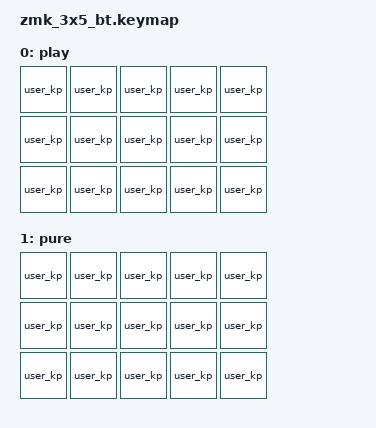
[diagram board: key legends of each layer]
/*
 * Copyright (c) 2026
 * SPDX-License-Identifier: MIT
 *
 * ZMK 3x5 Bluetooth Keyboard - User Keymap
 *
 * === Default layer (15 keys) ===
 *
 * Special keys (corners + sides):
 *   Y / P / H / ; / N / /  are in held-combos:
 *     Hold Y+P    → brightness loop (+1/100ms while held)
 *     Hold H+;    → hue loop       (+8deg/100ms while held)
 *     Hold Y+N    → cycle to next effect (0=OFF,1=静态,2=呼吸,3=彩虹,4=单点亮,5=星光,6=波纹)
 *     Hold P+N 3s → reboot into DFU bootloader
 *     Hold O+. 2s → clear every BLE bond
 *   While held, their normal letter is suppressed.
 *
 * Inner 9 keys (U I O J K L M , .):
 *   Send their letter — through ZMK's STOCK &kp (see the KPTEST note below).
 *   Historically they went through the hand-rolled &kp_we, which also fired a
 *   ripple. KPTEST retired that: the ripple is now driven straight off the
 *   kscan event, and the typing path is stock ZMK, so per-key feedback survives
 *   even if the keymap is wrong. &kp_we is still DEFINED further down but is
 *   no longer referenced by ANY binding.
 *
 * === Combos ===
 *   bri_combo   (Y+P)     → bri_dual   (suppresses both, no letter sent)
 *   hue_combo   (H+;)     → hue_dual   (suppresses both, no letter sent)
 *   eff_next_combo (Y+N)  → effect_cycle (suppresses both)
 *   dfu_combo   (P+N)     → dfu_combo  (3s hold → DFU)
 *   out_combo   (I+K)     → &out OUT_TOG (flip the output endpoint USB↔BLE;
 *                            needed while plugged in for power, see the block
 *                            comment where the combo is defined)
 *   bt_clr_combo (O+.)     → bt_clear   (held 2 s: wipe every BLE bond)
 *       PAIRFIX: the bound behavior used to call only bt_unpair(), which left
 *       ZMK's profiles[] still holding the old address, so ZMK refused every
 *       pairing request with BT_SECURITY_ERR_PAIR_NOT_ALLOWED. It now calls
 *       zmk_ble_clear_all_bonds() - the same thing ZMK's stock &bt BT_CLR_ALL
 *       does. See behavior_bt_clear_bonds.c and PAIRFIX-verify.md.
 *
 *   ALL combos now carry require-prior-idle-ms = <200> and timeout-ms = <80>.
 *   The pairing matters more than it looks: a combo CAPTURES the position
 *   events of its keys, so timeout-ms is also the delay imposed on a key
 *   pressed ALONE - and 12 of the 15 keys are combo members. Read the long
 *   block comment inside `combos {}` before editing any of it.
 *
 * === Pure play mode (纯净弹琴) ===
 *   HOLD Y + N + P + /          (positions 0 4 10 14, the four corners)
 *     -> enter: K (position 7) blinks BLUE twice
 *     -> leave: K blinks RED twice
 *
 *   While it is engaged the keymap sits on `pure_layer` below, whose fifteen
 *   bindings are the same notes. Every combo in this file carries
 *   `layers = <0>`, and ZMK only considers a combo a candidate when the
 *   HIGHEST ACTIVE layer is in that set - so on layer 1 no combo exists at
 *   all: Y+P, H+;, Y+N, P+N, O+. and I+K stop doing anything, and - the point
 *   of the whole exercise - they stop CAPTURING their member keys, so those
 *   notes type again (no 80 ms combo timeout, chords included).
 *
 *   The gesture is NOT a combo. Four corners cannot land inside an 80 ms combo
 *   window, and a four-key combo containing Y/N/P would leave every one of
 *   those keys with several candidates, which is exactly what made the old
 *   four-corner combo poison the brightness/effect/DFU chords (see the block
 *   comment inside `combos {}`). pure_mode.c detects it from position events
 *   instead, which reach module listeners before the combo engine.
 *
 *   Additions here are only the layer and the `layers` filters. Do NOT give
 *   the combos `layers = <0 1>` - that would put them straight back into pure
 *   mode.
 *
 * === Effect list (cycle order) ===
 *   0 OFF / 1 静态单色 / 2 单色呼吸 / 3 彩虹循环 / 4 单点亮 / 5 星光闪烁 / 6 波纹
 *
 * === Binding cells ===
 *   The default layer uses stock `&kp <symbol>` — exactly ONE cell, no second
 *   cell. The RETIRED `&kp_we <usage-id> <led idx 0-14>` had a second cell: a
 *   **0-based** LED/ripple index, i.e. exactly the keymap position (0..14).
 *   It is NOT the 1-based keyIndex used by the JSON scores. (Scores store
 *   keyIndex 1..15; player.c and mode_c.c subtract 1 before calling
 *   effects_on_key_down(), so the keymap had to pass 0..14.)
 *
 *   pos  0   1   2   3   4   5   6   7   8   9   10  11  12  13  14
 *   key  Y   U   I   O   P   H   J   K   L   ;   N   M   ,   .   /
 *   keyIndex (JSON, 1-based)  1..15  = pos + 1
 *
 * === HID usage IDs — READ THIS BEFORE TOUCHING THE BINDINGS ===
 *   Rule: use dt-bindings/zmk/keys.h SYMBOLS (&kp Y, &kp SEMI, ...) and never
 *   write a raw number. The symbol IS the usage ID, so there is nothing to get
 *   wrong — that is precisely why the symbols are mandatory here.
 *
 *   Authoritative table, Keyboard/Keypad page 0x07, raw *usage IDs* — which is
 *   exactly what zmk_hid_keyboard_press(zmk_key_t) takes:
 *
 *     A 0x04  B 0x05  C 0x06  D 0x07  E 0x08  F 0x09  G 0x0A  H 0x0B
 *     I 0x0C  J 0x0D  K 0x0E  L 0x0F  M 0x10  N 0x11  O 0x12  P 0x13
 *     Q 0x14  R 0x15  S 0x16  T 0x17  U 0x18  V 0x19  W 0x1A  X 0x1B
 *     Y 0x1C  Z 0x1D
 *     ; 0x33   ' 0x34   ` 0x35   , 0x36   . 0x37   / 0x38
 *
 *   This board's 15 keys. Verified against the devicetree dump of a REAL build
 *   (the `bindings = <` line shows the macro expansion, e.g. `&kp I 0x7000c`):
 *
 *     Y 0x1C   U 0x18   I 0x0C   O 0x12   P 0x13
 *     H 0x0B   J 0x0D   K 0x0E   L 0x0F   ; 0x33
 *     N 0x11   M 0x10   , 0x36   . 0x37   / 0x38
 *
 *   HISTORY — do not repeat it. An earlier revision of this file carried a
 *   table headed "boot Byte2 | correct usage ID (what goes here)" whose two
 *   columns were SWAPPED: it told you to write I=0x10, O=0x14, H=0x0F, N=0x19,
 *   M=0x1A, ","=0x3A. Those values are actually M, Q, L, V, W and F1. Applying
 *   that "correction" silently broke 12 of the 15 keys (symptom: N typed J,
 *   M typed I). The values that were correct are the ones it mislabelled
 *   "boot Byte2".
 *
 *   There is NO "boot protocol Byte2 = usage - 4" conversion in this project.
 *   In the USB HID Boot Keyboard Protocol the 8-byte report is
 *   1 modifier byte + 1 reserved byte + 6 keycode bytes, and those keycode
 *   bytes ARE usage IDs. If you meet that "usage - 4" claim in any other file
 *   in this repo, that file is wrong too.
 */

#include <behaviors.dtsi>
#include <dt-bindings/zmk/keys.h>
/* OUT_USB / OUT_BLE / OUT_TOG for the &out output-selection behavior. ZMK
 * ships this behavior itself (app/dts/behaviors/outputs.dtsi, pulled in by
 * behaviors.dtsi above) - there is no need to hand-roll endpoint switching. */
#include <dt-bindings/zmk/outputs.h>

/ {
    keymap {
        compatible = "zmk,keymap";

        default_layer {
            label = "play";

            /* pos: 0    1    2    3    4    5    6    7    8    9    10   11   12   13   14 */
            /*       Y    U    I    O    P    H    J    K    L    ;    N    M    ,    .    /   */
            /*      ki1  ki2  ki3  ki4  ki5  ki6  ki7  ki8  ki9  ki10 ki11 ki12 ki13 ki14 ki15 */
            /* NOTE: all 15 keys must type their letter. The corner/side keys are
             * ALSO combo triggers, but a ZMK combo already suppresses the member
             * keys while it is active, so they must NOT be bound to &none. */
            /* KPTEST: the typing path moved off the hand-rolled &kp_we and onto
             * ZMK's stock &kp, so the OFFICIAL pipeline runs verbatim:
             *
             *   &kp -> behavior_key_press -> raise_zmk_keycode_state_changed
             *        -> hid_listener -> zmk_hid_keyboard_press()
             *                        -> zmk_endpoints_send_report(HID_USAGE_KEY)
             *
             * Two reasons:
             *  1. &kp_we called zmk_hid_keyboard_press() directly. If anything
             *     in the hand-rolled path is wrong, the whole board looks dead.
             *     With stock &kp that variable is removed.
             *  2. The symbols below come from dt-bindings/zmk/keys.h, so they
             *     are HID usage IDs by construction. A macro cannot be off by
             *     the boot-protocol-vs-usage-ID difference that caused the
             *     previous N->J / M->I bug - there is no number to get wrong.
             *
             * The ripple is no longer triggered here; the strip's per-key white
             * marker is driven straight off the kscan event (L1), so per-key
             * feedback survives independently of the keymap. Re-attach the
             * ripple from a zmk_keycode_state_changed listener once typing is
             * confirmed. */
            /* pos: 0  1  2  3  4  5  6  7  8  9   10 11 12    13    14 */
            /* All 15 keys route through &user_kp, which emits user_keymap_table[pos]
             * (default = the 光遇 note for that position). The mapping is user-editable
             * over BLE (cmd 0x40) and persisted in NVS, so the board can be remapped to
             * any keys without reflashing. Combos still capture these positions as before. */
            bindings = <
                &user_kp &user_kp &user_kp &user_kp &user_kp
                &user_kp &user_kp &user_kp &user_kp &user_kp
                &user_kp &user_kp &user_kp &user_kp &user_kp
            >;
        };

        /* Layer 1 - 纯净弹琴 (pure play mode).
         *
         * Deliberately a COPY of the default layer, not a layer full of &none:
         * the point is that the notes still play while the function combos are
         * gone. Nothing here is a combo trigger, and no combo in `combos {}`
         * lists this layer, so the combo engine never captures a key here.
         *
         * It is reached only from pure_mode.c (zmk_keymap_layer_to(1)) - there
         * is no &to binding for it on purpose, because a normal key could be
         * hit by accident, and a 4-key gesture cannot. */
        pure_layer {
            label = "pure";

            bindings = <
                &user_kp &user_kp &user_kp &user_kp &user_kp
                &user_kp &user_kp &user_kp &user_kp &user_kp
                &user_kp &user_kp &user_kp &user_kp &user_kp
            >;
        };
    };

    /*
     * held-combo = both keys must be held simultaneously.
     * The combo suppresses the normal binding of BOTH keys while held.
     * The combo's behavior fires immediately when the second key is pressed
     * (the first key's press already scheduled a 100ms delayed work;
     * if the second key arrives within ~200ms the work fires).
     *
     * timeout-ms: window after first-key-press to accept the second key.
     * The actual 100ms brightness/hue loop fires regardless of timeout.
     */

    combos {
        compatible = "zmk,combos";

        /* ==================================================================
         * READ THIS BEFORE CHANGING ANY timeout-ms IN THIS BLOCK
         * ==================================================================
         * A combo's constituent keys do NOT type while the combo is a
         * candidate. ZMK's combo engine CAPTURES their position events, so the
         * keymap never sees them and the real keycode is only emitted once the
         * combo resolves or times out (app/src/combo.c):
         *
         *     num_candidates = setup_candidates_for_first_keypress(pos, ts);
         *     if (num_candidates == 0)
         *         return ZMK_EV_EVENT_BUBBLE;       // not a combo key: instant
         *     ...
         *     int ret = capture_pressed_key(data);  // CAPTURED: no keycode
         *     update_timeout_task();                // ...until this fires
         *     return ret;
         *
         * and that deadline is the FIRST key's timestamp plus the SMALLEST
         * timeout-ms among that key's candidate combos:
         *
         *     first_timeout = MIN(first_timeout, combos[i].timeout_ms);
         *     return pressed_keys[0].data.timestamp + first_timeout;
         *
         * So timeout-ms is ALSO the delay inflicted on a key pressed ALONE.
         * It is not merely "the window in which to press the other key".
         *
         * That is why this block used to make 12 of the 15 keys feel slow:
         * 200 ms of dead time on U I O H K ; M . and 60 ms on Y P N /. It is
         * transport-independent, so it looked identical over USB and over
         * Bluetooth - which is exactly how it was reported ("wired and BT both
         * got slower"). Pressing several keys at once engaged the combos, which
         * suppressed the letters entirely.
         *
         * The escape hatch is require-prior-idle-ms. Candidate selection is
         * gated on
         *
         *     is_quick_tap(combo, ts)
         *         = (last_tapped_timestamp + combo.require_prior_idle_ms) > ts
         *
         * where last_tapped_timestamp is stamped on every NON-modifier keycode
         * the board emits (combo.c keycode_state_changed_listener ->
         * store_last_tapped). With the property ABSENT it is 0, is_quick_tap()
         * is always false, and every combo key is captured on EVERY press.
         * With require-prior-idle-ms = <200> the combos stay inert unless you
         * actually paused first, so ordinary typing passes through with NO
         * added delay - and a deliberate chord still works.
         *
         * RULES FOR THIS BLOCK
         *   1. Every combo carries require-prior-idle-ms = <200>.
         *   2. Keep timeout-ms small (80 ms). It is a typing-delay budget, not
         *      a comfort setting: 80 ms is comfortably longer than a deliberate
         *      chord and short enough that the residual stall (only possible on
         *      the first key after a pause) is one frame.
         *   3. Long holds belong in the BEHAVIOR, not here.
         *      behavior_dfu_combo.c already schedules its own 3000 ms work, so
         *      the old timeout-ms = <3000> bought nothing but a 3 s stall on a
         *      lone P or N. */

        /* Y+P held → brightness loop (+1 / 100ms) */
        bri_combo {
            timeout-ms = <80>;
            require-prior-idle-ms = <200>;
            /* Default layer only: pure mode lives on layer 1 and must not have
             * any of these even as a candidate. See the header note. */
            layers = <0>;
            key-positions = <0 4>;
            bindings = <&bri_dual>;
        };

        /* H+; held → hue loop (+8deg / 100ms) */
        hue_combo {
            timeout-ms = <80>;
            require-prior-idle-ms = <200>;
            /* Default layer only: pure mode lives on layer 1 and must not have
             * any of these even as a candidate. See the header note. */
            layers = <0>;
            key-positions = <5 9>;
            bindings = <&hue_dual>;
        };

        /* Y+N pressed together → cycle to next effect (… 6 → 0 OFF → 1 …).
         *
         * WHY NOT THE FOUR CORNERS ANY MORE (was key-positions <0 4 10 14>):
         * a 4-key combo needs all four keys down within timeout-ms of the FIRST
         * press, and 80 ms is nowhere near achievable across the whole board.
         * Worse, it poisoned every other combo sharing a corner. ZMK's
         * position_state_down() only calls cleanup() - i.e. activates the
         * binding - when num_candidates == 1:
         *
         *     if (candidate_is_completely_pressed(candidate_combo)) {
         *         fully_pressed_combo = i;
         *         if (num_candidates == 1) { cleanup(); }
         *     }
         *
         * With the corners combo alive, pressing P then N left TWO candidates
         * (dfu_combo and eff_combo), so nothing activated on press: the combo
         * only fired at the 80 ms timeout, or on release - and on release
         * release_combo_key() released the binding in the same event, so
         * behavior_dfu_combo.c cancelled its own 3 s timer before it could ever
         * fire. "Holding P+N did nothing" was exactly that.
         *
         * Two keys that are already in a combo elsewhere cost nothing extra, so
         * this adds no new captured key: Y is in bri_combo, N is in dfu_combo. */
        eff_next_combo {
            timeout-ms = <80>;
            require-prior-idle-ms = <200>;
            /* Default layer only: pure mode lives on layer 1 and must not have
             * any of these even as a candidate. See the header note. */
            layers = <0>;
            key-positions = <0 10>;
            bindings = <&effect_cycle>;
        };

        /* P+N held 3 seconds → DFU bootloader.
         * The 3 s requirement lives in behavior_dfu_combo.c, which schedules
         * its own k_work on combo press and cancels it on release; the combo
         * timeout only has to cover pressing both keys together. Whoever holds
         * the gesture for 3 s gets DFU; a 3 s timeout here would only have
         * stalled a lone P or N for three seconds. */
        dfu_combo {
            timeout-ms = <80>;
            require-prior-idle-ms = <200>;
            /* Default layer only: pure mode lives on layer 1 and must not have
             * any of these even as a candidate. See the header note. */
            layers = <0>;
            key-positions = <4 10>;
            bindings = <&dfu_combo>;
        };

        /* O+. HELD 2 seconds -> clear EVERY BLE bond, then go back to general
         * discoverable advertising (bound to zmk_ble_clear_all_bonds(), i.e.
         * ZMK's stock &bt BT_CLR_ALL semantics). Required after changing hosts;
         * also the fix for the "cannot pair" state PAIRFIX addressed.
         *
         * Was U+M+O+. (four keys) - dead for the same reason eff_combo was:
         * four keys will not land inside an 80 ms window. Now two keys, which
         * are also physically adjacent (positions 3 and 13 are the same
         * column, one row apart), so they are easy to press together.
         *
         * The 2 s hold lives in behavior_bt_clear_bonds.c and is what keeps
         * this from being dangerous: dropping a combo to 2 keys makes it
         * accidentally reachable, and wiping every bond is not undoable.
         * U and M are now free of any combo - 3 fewer captured keys. */
        bt_clr_combo {
            timeout-ms = <80>;
            require-prior-idle-ms = <200>;
            /* Default layer only: pure mode lives on layer 1 and must not have
             * any of these even as a candidate. See the header note. */
            layers = <0>;
            key-positions = <3 13>;
            bindings = <&bt_clear>;
        };

        /* I+K pressed together → toggle the OUTPUT ENDPOINT between USB and
         * Bluetooth. Uses ZMK's own behavior (app/dts/behaviors/outputs.dtsi,
         * included via behaviors.dtsi) - no custom code:
         *   OUT_TOG -> zmk_endpoints_toggle_transport()
         *   OUT_USB -> zmk_endpoints_select_transport(ZMK_TRANSPORT_USB)
         *   OUT_BLE -> zmk_endpoints_select_transport(ZMK_TRANSPORT_BLE)
         *
         * WHY IT IS NEEDED NOW that CONFIG_ZMK_USB is restored:
         * endpoints.c keeps ONE current_instance and get_selected_transport()
         * returns preferred_transport whenever BOTH transports are ready - and
         * preferred_transport defaults to USB. So a board that is plugged in
         * for power while also bonded over Bluetooth sends every keystroke
         * down USB and the Bluetooth host receives nothing. That is exactly
         * how the original "Bluetooth is connected but no keys come out"
         * symptom looked, and before this combo the only cure was to unplug.
         * Now: press I+K once and the keystrokes go back on the air.
         *
         * The choice PERSISTS: zmk_endpoints_select_transport() finishes with
         * settings_save_one("endpoints/preferred", ...), so it survives a
         * reboot. Press it again to return to USB.
         *
         * I+K is positions 2 and 7 - vertically adjacent, so it can be
         * squeezed with one hand - and it shares no key with any other combo
         * in this block. */
        out_combo {
            timeout-ms = <80>;
            require-prior-idle-ms = <200>;
            /* Default layer only: pure mode lives on layer 1 and must not have
             * any of these even as a candidate. See the header note. */
            layers = <0>;
            key-positions = <2 7>;
            /* NOT the stock &out OUT_TOG: that cannot be made inert during playback,
             * and I and K are two of the keys a score legitimately asks for. Flipping
             * the endpoint mid-song would drop the very link the notes travel over.
             * The guard forwards to zmk_endpoints_toggle_transport() only when no
             * score is running. */
            bindings = <&out_guard>;
        };
    };

    /* Define the custom behaviors so the combo bindings can reference them. */
    behaviors {
        bri_dual:     rgb_bri_dual_hold    { compatible = "zmk,behavior-bri-dual-hold";    #binding-cells = <0>; };
        hue_dual:     rgb_hue_dual_hold    { compatible = "zmk,behavior-hue-dual-hold";    #binding-cells = <0>; };
        effect_cycle: rgb_effect_cycle      { compatible = "zmk,behavior-effect-cycle";     #binding-cells = <0>; };
        dfu_combo:    rgb_dfu_combo         { compatible = "zmk,behavior-dfu-combo";       #binding-cells = <0>; };
        kp_we:        kp_with_effect        { compatible = "zmk,behavior-kp-with-effect";   #binding-cells = <2>; };
        bt_clear:     bt_clear_bonds        { compatible = "zmk,behavior-bt-clear-bonds"; #binding-cells = <0>; };
        out_guard:    rgb_out_guard         { compatible = "zmk,behavior-out-guard";     #binding-cells = <0>; };
        /* Runtime-remappable manual key. Emits user_keymap_table[pos] (default = the
         * 光遇 note for that position). Replaces stock &kp on the 15 main keys so the
         * user can repurpose the board for any game/app via BLE, without reflashing. */
        user_kp:      user_kp_behavior      { compatible = "zmk,behavior-user-kp";       #binding-cells = <0>; };
    };
};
